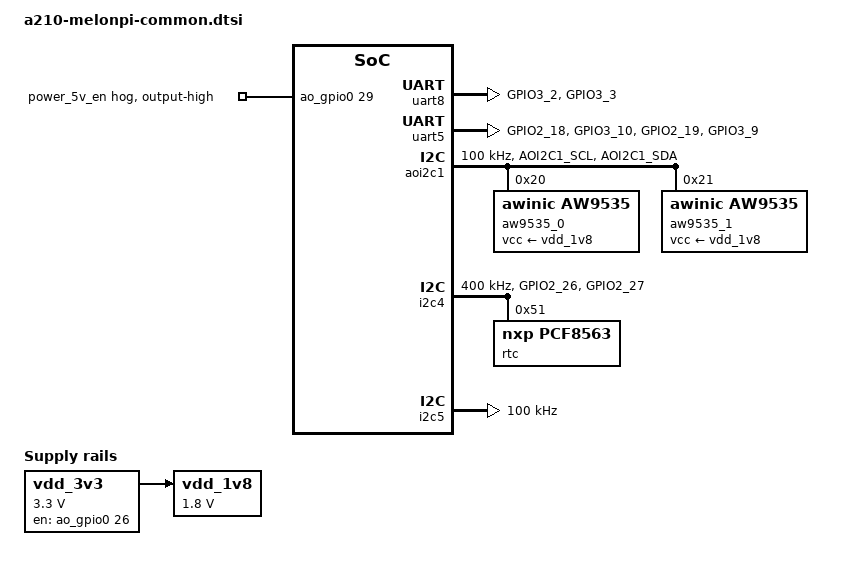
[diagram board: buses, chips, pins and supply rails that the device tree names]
// SPDX-License-Identifier: (GPL-2.0-only OR BSD-2-Clause)
#include "a210-som.dtsi"
#include <dt-bindings/gpio/gpio.h>

/ {
	chosen {
		stdout-path = "serial4";
	};

	aliases {
		serial0 = &uart0;
		serial1 = &uart1;
		serial2 = &uart2;
		serial3 = &uart3;
		serial4 = &uart4;
		serial5 = &uart5;
		serial6 = &uart6;
		serial7 = &uart7;
		serial8 = &uart8;
		serial9 = &uart9;
	};

	vdd_3v3: regulator-3v3 {
		compatible = "regulator-fixed";
		regulator-name = "vdd-3v3";
		regulator-min-microvolt = <3300000>;
		regulator-max-microvolt = <3300000>;
		gpio = <&ao_gpio0 26 GPIO_ACTIVE_HIGH>;
		enable-active-high;
		regulator-boot-on;
		regulator-always-on;
	};

	vdd_1v8: regulator-1v8 {
		compatible = "regulator-fixed";
		regulator-name = "vdd-1v8";
		regulator-min-microvolt = <1800000>;
		regulator-max-microvolt = <1800000>;
		vin-supply = <&vdd_3v3>;
		regulator-always-on;
	};
};

&peri1_padctrl {
	uart3_pins: uart3-0 {
		tx-pins {
			pins = "GPIO0_3", "GPIO0_6"; /* TXD, RTSN */
			function = "uart3";
			bias-disable;
			drive-strength = <3>;
			input-disable;
			input-schmitt-disable;
			slew-rate = <0>;
		};

		rx-pins {
			pins = "GPIO0_4", "GPIO0_5"; /* RXD, CTSN */
			function = "uart3";
			bias-disable;
			drive-strength = <1>;
			input-enable;
			input-schmitt-enable;
			slew-rate = <0>;
		};
	};
	uart0_pins: uart0-0 {
		tx-pins {
			pins = "GPIO0_14", "GPIO0_17"; /* TXD, RTSN */
			function = "uart0";
			bias-disable;
			drive-strength = <3>;
			input-disable;
			input-schmitt-disable;
			slew-rate = <0>;
		};

		rx-pins {
			pins = "GPIO0_15", "GPIO0_16"; /* RXD, CTSN */
			function = "uart0";
			bias-disable;
			drive-strength = <1>;
			input-enable;
			input-schmitt-enable;
			slew-rate = <0>;
		};
	};
	uart1_pins: uart1-1 {
		tx-pins {
			pins = "GPIO0_28", "GPIO0_31"; /* TXD, RTSN */
			function = "uart1";
			bias-disable;
			drive-strength = <3>;
			input-disable;
			input-schmitt-disable;
			slew-rate = <0>;
		};

		rx-pins {
			pins = "GPIO0_29", "GPIO0_30"; /* RXD, CTSN */
			function = "uart1";
			bias-disable;
			drive-strength = <1>;
			input-enable;
			input-schmitt-enable;
			slew-rate = <0>;
		};
	};

	uart2_pins: uart2-0 {
		tx-pins {
			pins = "GPIO1_1";
			function = "uart2";
			bias-disable;
			drive-strength = <3>;
			input-disable;
			input-schmitt-disable;
			slew-rate = <0>;
		};

		rx-pins {
			pins = "GPIO1_0";
			function = "uart2";
			bias-disable;
			drive-strength = <1>;
			input-enable;
			input-schmitt-enable;
			slew-rate = <0>;
		};
	};
};

&peri2_padctrl {
	uart4_pins: uart4-0 {
		tx-pins {
			pins = "GPIO2_0";
			function = "uart4";
			bias-disable;
			drive-strength = <3>;
			input-disable;
			input-schmitt-disable;
			slew-rate = <0>;
		};

		rx-pins {
			pins = "GPIO2_1";
			function = "uart4";
			bias-disable;
			drive-strength = <1>;
			input-enable;
			input-schmitt-enable;
			slew-rate = <0>;
		};
	};
	uart5_pins: uart5-1 {
		tx-pins {
			pins = "GPIO2_18", "GPIO3_10";
			function = "uart5";
			bias-disable;
			drive-strength = <3>;
			input-disable;
			input-schmitt-disable;
			slew-rate = <0>;
		};

		rx-pins {
			pins = "GPIO2_19", "GPIO3_9";
			function = "uart5";
			bias-disable;
			drive-strength = <1>;
			input-enable;
			input-schmitt-enable;
			slew-rate = <0>;
		};
	};
	uart6_pins: uart6-0 {
		tx-pins {
			pins = "GPIO2_4", "GPIO2_9"; /* TXD, RTSN */
			function = "uart6";
			bias-disable;
			drive-strength = <3>;
			input-disable;
			input-schmitt-disable;
			slew-rate = <0>;
		};

		rx-pins {
			pins = "GPIO2_5", "GPIO2_8"; /* RXD, CTSN */
			function = "uart6";
			bias-disable;
			drive-strength = <1>;
			input-enable;
			input-schmitt-enable;
			slew-rate = <0>;
		};
	};
	uart7_pins: uart7-0 {
		tx-pins {
			pins = "GPIO2_6";
			function = "uart7";
			bias-disable;
			drive-strength = <3>;
			input-disable;
			input-schmitt-disable;
			slew-rate = <0>;
		};

		rx-pins {
			pins = "GPIO2_7";
			function = "uart7";
			bias-disable;
			drive-strength = <1>;
			input-enable;
			input-schmitt-enable;
			slew-rate = <0>;
		};
	};
	uart9_pins: uart9-0 {
		tx-pins {
			pins = "GPIO2_10";
			function = "uart9";
			bias-disable;
			drive-strength = <3>;
			input-disable;
			input-schmitt-disable;
			slew-rate = <0>;
		};

		rx-pins {
			pins = "GPIO2_11";
			function = "uart9";
			bias-disable;
			drive-strength = <1>;
			input-enable;
			input-schmitt-enable;
			slew-rate = <0>;
		};
	};
	sen_vclk_pin0: sen-vclk-0 {
		sen-vclk0-pins {
			pins = "GPIO3_0";
			function = "sen_vclk";
			bias-disable;
			drive-strength = <7>;
			input-enable;
			input-schmitt-enable;
			slew-rate = <0>;
		};
	};
	sen_vclk_pin1: sen-vclk-1 {
		sen-vclk1-pins {
			pins = "GPIO3_1";
			function = "sen_vclk";
			bias-disable;
			drive-strength = <7>;
			input-enable;
			input-schmitt-enable;
			slew-rate = <0>;
		};
	};
	uart8_pins: uart8-1 {
		tx-pins {
			pins = "GPIO3_2";
			function = "uart8";
			bias-disable;
			drive-strength = <3>;
			input-disable;
			input-schmitt-disable;
			slew-rate = <0>;
		};

		rx-pins {
			pins = "GPIO3_3";
			function = "uart8";
			bias-disable;
			drive-strength = <1>;
			input-enable;
			input-schmitt-enable;
			slew-rate = <0>;
		};
	};
};

&uart2 {
	pinctrl-names = "default";
	pinctrl-0 = <&uart2_pins>;
};

&uart3 {
	pinctrl-names = "default";
	pinctrl-0 = <&uart3_pins>;
};

&uart4 {
	/*
	 * Keep the console UART independent of the optional A210 pinctrl
	 * driver.  The boot firmware has already configured these pins.
	 */
};

&uart7 {
	pinctrl-names = "default";
	pinctrl-0 = <&uart7_pins>;
};

&uart8 {
	pinctrl-names = "default";
	pinctrl-0 = <&uart8_pins>;
};

&uart0 {
	pinctrl-names = "default";
	pinctrl-0 = <&uart0_pins>;
};

&uart1 {
	pinctrl-names = "default";
	pinctrl-0 = <&uart1_pins>;
};

&uart5 {
	pinctrl-names = "default";
	pinctrl-0 = <&uart5_pins>;
};

&uart6 {
	pinctrl-names = "default";
	pinctrl-0 = <&uart6_pins>;
};

&uart9 {
	pinctrl-names = "default";
	pinctrl-0 = <&uart9_pins>;
};

&uart0 {
	status = "disabled";
};

&uart1 {
	status = "disabled";
};

&uart2 {
	status = "disabled";
};

&uart3 {
	status = "disabled";
};

&uart6 {
	status = "disabled";
};

&uart7 {
	status = "disabled";
};

&uart9 {
	status = "disabled";
};

&ao_gpio0 {
	power-5v-en-hog {
		gpio-hog;
		gpios = <29 GPIO_ACTIVE_HIGH>;
		output-high;
		line-name = "power_5v_en";
	};

};


&aon_padctrl {
	aoi2c1_pins: aoi2c1-0 {
		bus-pins {
			pins = "AOI2C1_SCL", "AOI2C1_SDA";
			function = "aoi2c1";
			bias-disable;
			drive-strength = <25>;
			input-enable;
			input-schmitt-enable;
			slew-rate = <1>;
		};
	};
};

&aoi2c1 {
	pinctrl-names = "default";
	pinctrl-0 = <&aoi2c1_pins>;
	clock-frequency = <100000>;
	status = "okay";

	aw9535_0: gpio@20 {
		compatible = "awinic,aw9535";
		reg = <0x20>;
		vcc-supply = <&vdd_1v8>;
		gpio-controller;
		#gpio-cells = <2>;
	};

	aw9535_1: gpio@21 {
		compatible = "awinic,aw9535";
		reg = <0x21>;
		vcc-supply = <&vdd_1v8>;
		gpio-controller;
		#gpio-cells = <2>;
	};
};

&aw9535_1 {
	download-vbus-off-hog {
		gpio-hog;
		gpios = <9 GPIO_ACTIVE_HIGH>;
		output-low;
		line-name = "download-vbus-off";
	};
};

&i2c4 {
	pinctrl-names = "default";
	pinctrl-0 = <&i2c4_pins>;
	clock-frequency = <400000>;

	rtc: rtc@51 {
		compatible = "nxp,pcf8563";
		reg = <0x51>;
		#clock-cells = <0>;
	};
};

&peri2_padctrl {
	i2c4_pins: i2c4-0 {
		bus-pins {
			pins = "GPIO2_26", "GPIO2_27";
			function = "i2c4";
			bias-disable;
			drive-strength = <25>;
			input-enable;
			input-schmitt-enable;
			slew-rate = <1>;
		};
	};
};

&i2c5 {
	clock-frequency = <100000>;
};
